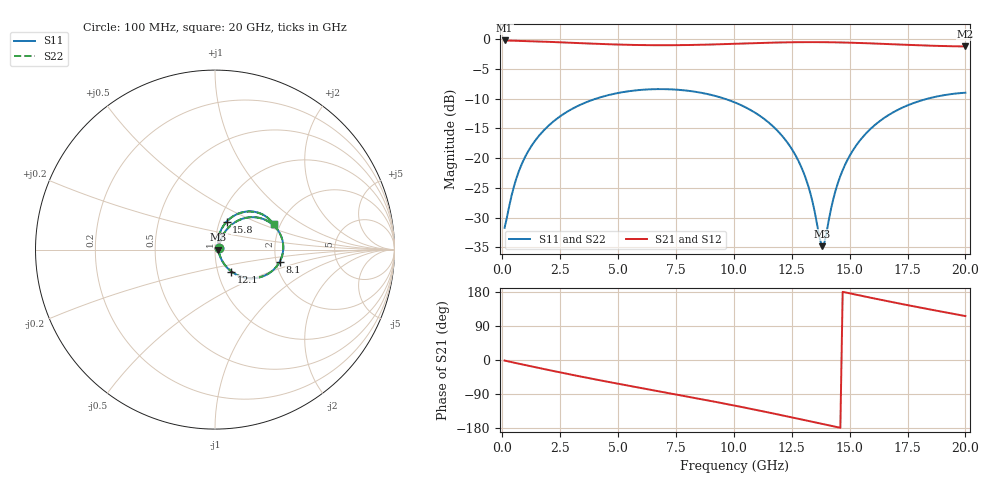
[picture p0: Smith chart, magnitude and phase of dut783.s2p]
! Touchstone file exported from HFSS 2026.1.0
!  File:  C:/ffzhzh/LocalFiles/Ansys_Project_Files/temp_train_TSV_RDL_783_1783211138_55132.aedt
!  Generated:  08:36:04 AM Jul  5, 2026
!  Design:  TSV_RDL
!  Project:  temp_train_TSV_RDL_783_1783211138_55132
! Variables:
!  h_bsmrdl = 2.48um
!  h_ox = 20um
!  h_rdl = 5um
!  h_sub = 95.4um
!  h_tmrdl = 4.14um
!  h_tsv = 95.4um
!  h_via = 3um
!  l_bsmrdl = 701.12um
!  l_sub = 3848.59um
!  l_tmrdl = 307.11um
!  m_sub = 200um
!  pitch = 35.72um
!  r_tsv = 4.76um
!  s_tmrdl = 10um
!  w_bsmrdl = 26.48um
!  w_sub = 500um
!  w_tmrdl = 12.45um
!  x_tsv_center1 = 313.335um
!  x_tsv_center2 = 1040.935um
!  x_tsv_center3 = 1360.495um
!  x_tsv_center4 = 2088.095um
!  x_tsv_center5 = 2407.655um
!  x_tsv_center6 = 3135.255um
# GHz S MA R 50.000000
! Terminal data exported
! Port[1] = TM_RDL1_1_T1
! Port[2] = TM_RDL5_1_T1
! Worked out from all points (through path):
!   200 points, 100 MHz to 20 GHz, reference 50 ohm
!   highest |S21| = -0.21 dB at 100 MHz (marker M1); lowest = -1.2 dB at 20 GHz (marker M2)
!   group delay of S21, straight-line fit = 33.8 ps
!   lowest |S11| = -34.8 dB at 13.8 GHz (marker M3), VSWR 1.04, Z = 51.9 - j0.01 ohm
!   |S11| at or under -10 dB: start of sweep to 4.043 GHz; 9.602 GHz to 18.36 GHz (8.761 GHz wide, 62.7 % of centre)
!   |S22| runs from -34.6 to -8.4 dB; largest |S21 - S12| = 1.6e-14
!   S11 on the Smith chart (normalised r, x): 100 MHz: 1.05, +0.02; 8.1 GHz: 2.10, -0.32; 12.1 GHz: 1.16, -0.29; 15.8 GHz: 1.08, +0.35; 20 GHz: 1.84, +0.59
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0.1  0.02601 24.4  0.9765 -1.4  0.9765 -1.4  0.02601 24.4
! Gamma 0 0 0 0
! Port Impedance 50 0 50 0
0.6  0.06684 59.6  0.9698 -8.3  0.9698 -8.3  0.06686 59.6
1.2  0.1215 60.2  0.9622 -16.1  0.9622 -16.1  0.1215 60.2
2.2  0.203 52.0  0.9475 -29.0  0.9475 -29.0  0.203 52.0
3.5  0.2885 38.6  0.9247 -45.0  0.9247 -45.0  0.2885 38.6
5.1  0.3562 21.5  0.9009 -63.8  0.9009 -63.8  0.3562 21.5
6.8  0.3809 3.4  0.8903 -83.0  0.8903 -83.0  0.3808 3.5
8.1  0.3672 -10.4  0.8944 -97.7  0.8944 -97.7  0.3672 -10.4
10.1  0.2911 -32.2  0.9163 -121.1  0.9163 -121.1  0.291 -32.1
11.2  0.2217 -44.2  0.9308 -134.7  0.9308 -134.7  0.2217 -44.1
12.1  0.1528 -53.2  0.9403 -146.2  0.9403 -146.2  0.1528 -53.0
12.9  0.08538 -57.8  0.9451 -156.6  0.9451 -156.6  0.08542 -57.6
13.4  0.04283 -51.5  0.9458 -163.1  0.9458 -163.1  0.04297 -51.0
13.8  0.01821 -0.3  0.945 -168.4  0.945 -168.4  0.01863 0.1
13.9  0.01903 26.3  0.9446 -169.7  0.9446 -169.7  0.01946 26.1
14.3  0.04574 69.1  0.9423 -175.0  0.9423 -175.0  0.04596 68.6
14.7  0.0793 74.1  0.9389 179.8  0.9389 179.8  0.07946 73.8
15.2  0.121 72.4  0.9332 173.4  0.9332 173.4  0.1212 72.2
15.8  0.1685 67.4  0.9247 165.7  0.9247 165.7  0.1686 67.3
16.7  0.2316 58.3  0.9101 154.5  0.9101 154.5  0.2317 58.2
18.2  0.3099 42.3  0.8864 136.5  0.8864 136.5  0.31 42.2
20  0.3551 23.3  0.8694 115.9  0.8694 115.9  0.3552 23.2
